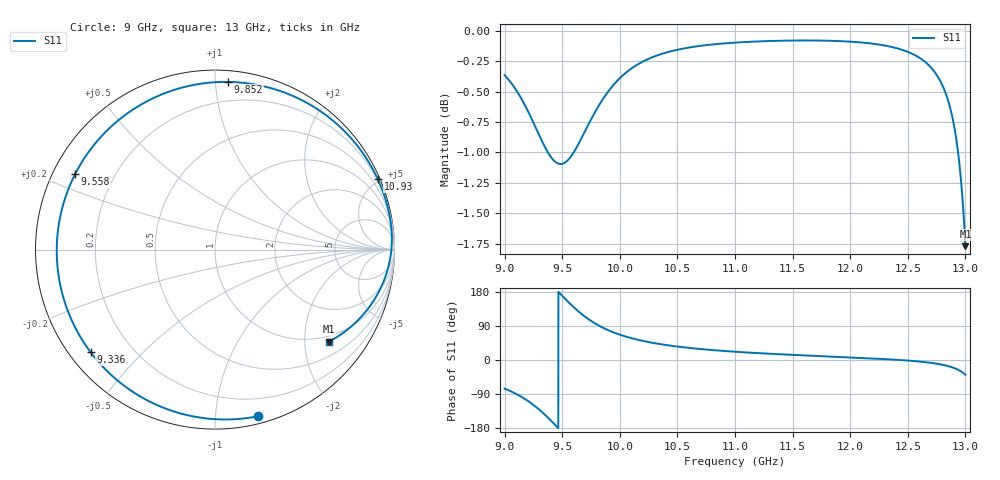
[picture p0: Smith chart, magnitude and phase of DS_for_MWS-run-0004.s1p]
! TOUCHSTONE file generated by CST DESIGN STUDIO
! Date and time: Tue Feb  4 18:04:50 2025
! Project name: C:\Work\MatlabApps\UnitCellOptimizationMatlab\CST\unitcell.cst
! Tree item: Tasks\Sweep1\SPara1\S-Parameters
! Header version: 2024
! Port assignment regex: !\s*Touchstone port\s*([0-9]+)\s*=\s*(CST MWS port|CST DES external port|CST DES block port)\s*(.+)\s* \(\"(.*)\"\)(\s*mode\s*([0-9]+))?.*
! Touchstone port assignment:
! Touchstone port 1 = CST DES external port 1 ("")
# GHz S MA R 50
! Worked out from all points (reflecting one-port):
!   4001 points, 9 GHz to 13 GHz, reference 50 ohm
!   lowest |S11| = -1.8 dB at 13 GHz (marker M1), VSWR 9.84, Z = 42.1 - j129 ohm
!   phase of S11 starts at -76 deg and turns -323 deg over the sweep
!   S11 on the Smith chart (normalised r, x): 9 GHz: 0.06, -1.29; 9.336 GHz: 0.06, -0.36; 9.558 GHz: 0.06, +0.25; 9.852 GHz: 0.07, +1.08; 10.93 GHz: 0.14, +4.84; 13 GHz: 0.84, -2.58
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9  0.9589 -75.6
9.107  0.9443 -90.6
9.191  0.9291 -105.7
9.265  0.9135 -122.0
9.336  0.8985 -140.5
9.381  0.8904 -153.5
9.422  0.8849 -166.0
9.461  0.882 -178.3
9.5  0.8817 169.4
9.558  0.8857 151.6
9.626  0.8956 132.2
9.694  0.9085 115.3
9.767  0.9226 100.0
9.852  0.9372 85.5
9.924  0.9474 75.5
10  0.9561 66.8
10.102  0.965 57.5
10.216  0.9721 49.3
10.5  0.9822 35.5
10.928  0.9883 23.3
11  0.9889 21.8
11.5  0.9908 13.5
12  0.9898 6.8
12.5  0.9802 -1.5
12.699  0.9661 -7.5
12.843  0.9384 -15.5
12.929  0.8969 -24.6
13  0.8156 -39.0
